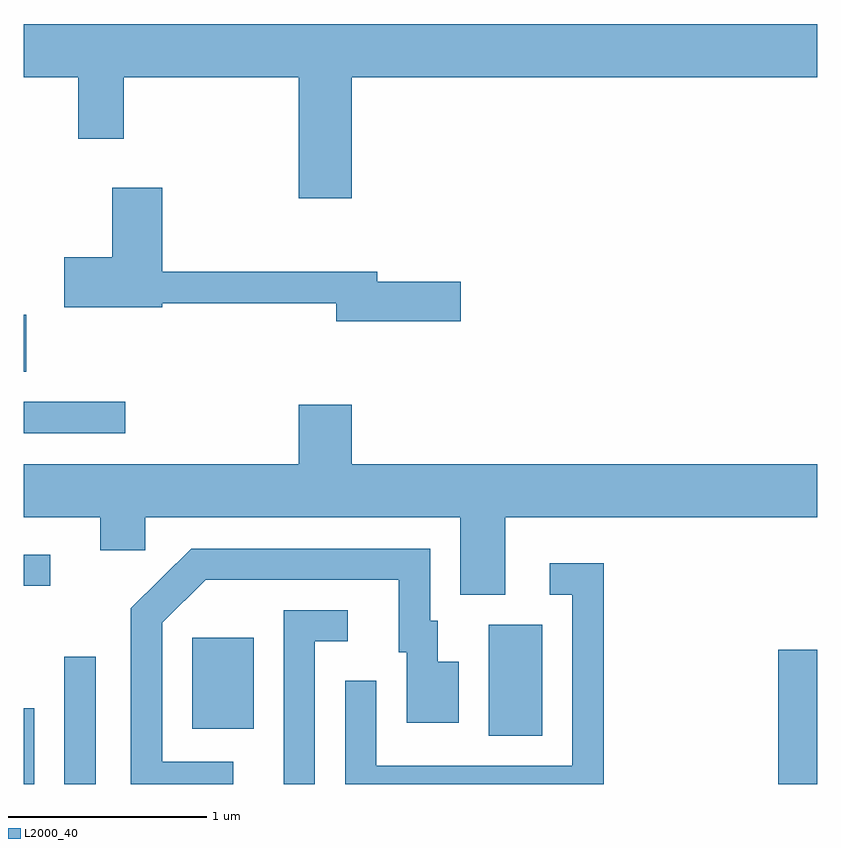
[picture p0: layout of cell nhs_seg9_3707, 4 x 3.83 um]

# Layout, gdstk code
import gdstk
lib = gdstk.Library(unit=1e-6, precision=1e-09)
def R(c, l, rs):  # rectangles x0, y0, x1, y1
    for r in rs: c.add(gdstk.rectangle(r[:2], r[2:], *l))
def P(c, l, *ps):  # polygons
    for p in ps: c.add(gdstk.Polygon(p, *l))
L2000_40 = (2000, 40)

nhs_seg9_3707 = lib.new_cell('nhs_seg9_3707')
R(nhs_seg9_3707, L2000_40, [(293.611,2030.432,293.664,2030.814), (293.816,2030.432,293.974,2031.073), (297.416,2030.432,297.611,2031.109), (295.956,2030.676,296.224,2031.234), (294.461,2030.711,294.769,2031.169), (293.611,2031.431,293.743,2031.589), (293.611,2032.201,294.123,2032.359), (293.611,2032.511,293.624,2032.799)])
P(nhs_seg9_3707, L2000_40, [(295.264,2033.996),(297.611,2033.996),(297.611,2034.264),(293.611,2034.264),(293.611,2033.996),(293.886,2033.996),(293.886,2033.686),(294.114,2033.686),(294.114,2033.996),(294.996,2033.996),(294.996,2033.386),(295.264,2033.386)],
  [(295.814,2032.964),(295.394,2032.964),(295.394,2033.014),(294.309,2033.014),(294.309,2033.439),(294.056,2033.439),(294.056,2033.089),(293.816,2033.089),(293.816,2032.836),(294.309,2032.836),(294.309,2032.856),(295.186,2032.856),(295.186,2032.766),(295.814,2032.766)],
  [(296.039,2031.776),(297.611,2031.776),(297.611,2032.044),(295.264,2032.044),(295.264,2032.344),(294.996,2032.344),(294.996,2032.044),(293.611,2032.044),(293.611,2031.776),(293.996,2031.776),(293.996,2031.611),(294.224,2031.611),(294.224,2031.776),(295.811,2031.776),(295.811,2031.386),(296.039,2031.386)],
  [(294.668,2030.544),(294.309,2030.544),(294.309,2031.244),(294.527,2031.461),(295.501,2031.461),(295.501,2031.096),(295.541,2031.096),(295.541,2030.741),(295.804,2030.741),(295.804,2031.049),(295.699,2031.049),(295.699,2031.254),(295.659,2031.254),(295.659,2031.619),(294.454,2031.619),(294.151,2031.317),(294.151,2030.432),(294.668,2030.432)],
  [(296.534,2031.544),(296.263,2031.544),(296.263,2031.386),(296.376,2031.386),(296.376,2030.524),(295.389,2030.524),(295.389,2030.953),(295.231,2030.953),(295.231,2030.432),(296.534,2030.432)],
  [(295.079,2031.151),(295.243,2031.151),(295.243,2031.309),(294.921,2031.309),(294.921,2030.432),(295.079,2030.432)])

lib.write_gds('nhs_seg9_3707.gds')
